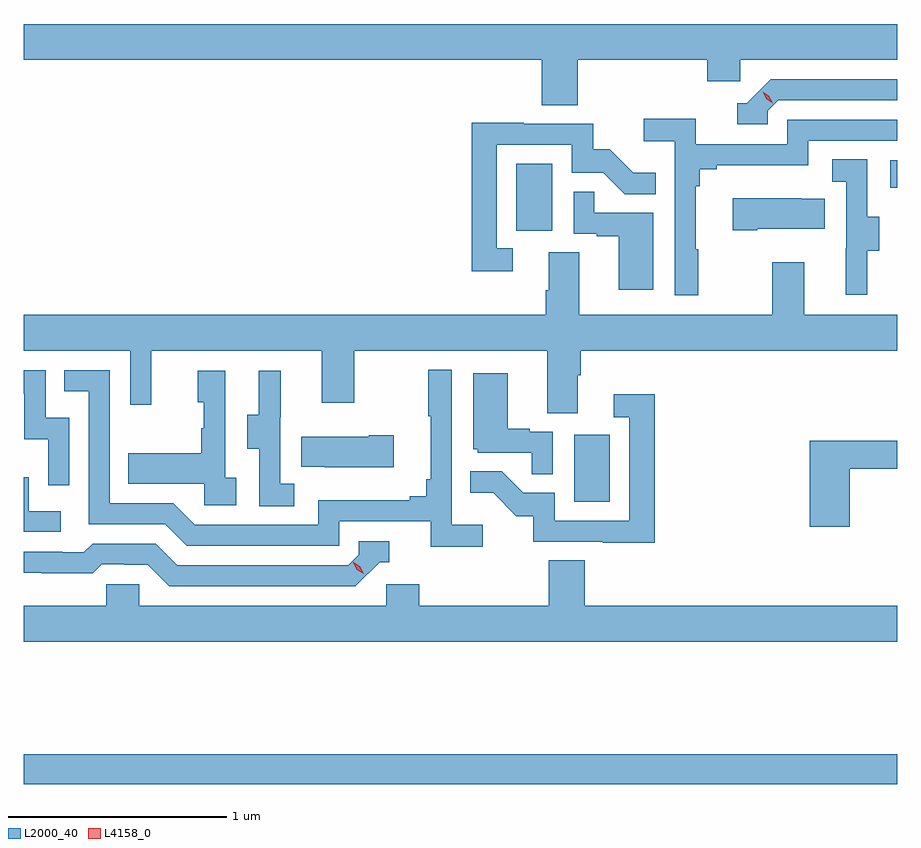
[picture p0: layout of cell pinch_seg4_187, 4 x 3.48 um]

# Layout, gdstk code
import gdstk
lib = gdstk.Library(unit=1e-6, precision=1e-09)
def R(c, l, rs):  # rectangles x0, y0, x1, y1
    for r in rs: c.add(gdstk.rectangle(r[:2], r[2:], *l))
def P(c, l, *ps):  # polygons
    for p in ps: c.add(gdstk.Polygon(p, *l))
L2000_40 = (2000, 40)
L4158_0 = (4158, 0)

pinch_seg4_187 = lib.new_cell('pinch_seg4_187')
R(pinch_seg4_187, L2000_40, [(973.586,812.152,977.586,812.288), (976.106,813.444,976.27,813.751), (975.842,814.686,976.006,814.993), (977.553,814.883,977.586,815.007)])
P(pinch_seg4_187, L2000_40, [(976.124,815.468),(976.715,815.468),(976.715,815.37),(976.866,815.37),(976.866,815.468),(977.586,815.468),(977.586,815.632),(973.586,815.632),(973.586,815.468),(975.959,815.468),(975.959,815.26),(976.124,815.26)],
  [(976.992,815.235),(977.04,815.283),(977.586,815.283),(977.586,815.379),(977.007,815.379),(976.896,815.268),(976.853,815.268),(976.853,815.172),(976.992,815.172)],
  [(976.675,814.601),(976.663,814.601),(976.663,814.889),(976.682,814.889),(976.682,814.966),(976.759,814.966),(976.759,814.985),(977.178,814.985),(977.178,815.097),(977.586,815.097),(977.586,815.193),(977.082,815.193),(977.082,815.082),(976.664,815.082),(976.664,815.198),(976.425,815.198),(976.425,815.096),(976.566,815.096),(976.566,814.389),(976.675,814.389)],
  [(975.826,814.605),(975.753,814.605),(975.753,815.079),(976.095,815.079),(976.095,814.95),(976.239,814.95),(976.337,814.852),(976.481,814.852),(976.481,814.951),(976.377,814.951),(976.27,815.058),(976.194,815.058),(976.194,815.175),(975.875,815.175),(975.875,815.18),(975.637,815.18),(975.637,814.5),(975.826,814.5)],
  [(977.449,814.594),(977.503,814.594),(977.503,814.749),(977.448,814.749),(977.448,815.012),(977.289,815.012),(977.289,814.909),(977.352,814.909),(977.352,814.605),(977.351,814.605),(977.351,814.392),(977.449,814.392)],
  [(976.468,814.767),(976.199,814.767),(976.199,814.865),(976.104,814.865),(976.104,814.671),(976.211,814.671),(976.211,814.659),(976.31,814.659),(976.31,814.416),(976.468,814.416)],
  [(976.945,814.694),(977.255,814.694),(977.255,814.831),(977.147,814.831),(977.147,814.834),(976.833,814.834),(976.833,814.687),(976.945,814.687)],
  [(976.123,814.024),(976.136,814.024),(976.136,814.136),(977.586,814.136),(977.586,814.3),(977.161,814.3),(977.161,814.54),(977.014,814.54),(977.014,814.3),(976.129,814.3),(976.129,814.586),(975.989,814.586),(975.989,814.412),(975.977,814.412),(975.977,814.3),(973.586,814.3),(973.586,814.136),(974.073,814.136),(974.073,813.888),(974.171,813.888),(974.171,814.136),(974.951,814.136),(974.951,813.897),(975.099,813.897),(975.099,814.136),(975.983,814.136),(975.983,813.85),(976.123,813.85)],
  [(975.688,813.34),(975.546,813.34),(975.546,814.048),(975.438,814.048),(975.438,813.835),(975.449,813.835),(975.449,813.547),(975.43,813.547),(975.43,813.47),(975.353,813.47),(975.353,813.451),(974.934,813.451),(974.934,813.339),(974.37,813.339),(974.271,813.438),(973.98,813.438),(973.98,814.047),(973.771,814.047),(973.771,813.951),(973.884,813.951),(973.884,813.342),(974.234,813.342),(974.333,813.243),(975.03,813.243),(975.03,813.354),(975.449,813.354),(975.449,813.238),(975.688,813.238)],
  [(973.794,813.828),(973.686,813.828),(973.686,814.047),(973.586,814.047),(973.586,813.939),(973.589,813.939),(973.589,813.731),(973.698,813.731),(973.698,813.519),(973.794,813.519)],
  [(974.56,813.554),(974.508,813.554),(974.508,814.045),(974.384,814.045),(974.384,813.9),(974.41,813.9),(974.41,813.782),(974.4,813.782),(974.4,813.667),(974.065,813.667),(974.065,813.527),(974.412,813.527),(974.412,813.429),(974.56,813.429)],
  [(974.824,813.527),(974.76,813.527),(974.76,813.831),(974.762,813.831),(974.762,814.045),(974.663,814.045),(974.663,813.843),(974.609,813.843),(974.609,813.688),(974.664,813.688),(974.664,813.424),(974.824,813.424)],
  [(976.008,813.765),(975.902,813.765),(975.902,813.778),(975.802,813.778),(975.802,814.033),(975.644,814.033),(975.644,813.684),(975.666,813.684),(975.666,813.669),(975.913,813.669),(975.913,813.571),(976.008,813.571)],
  [(976.475,813.937),(976.287,813.937),(976.287,813.831),(976.359,813.831),(976.359,813.357),(976.017,813.357),(976.017,813.486),(975.873,813.486),(975.775,813.584),(975.631,813.584),(975.631,813.485),(975.735,813.485),(975.842,813.378),(975.919,813.378),(975.919,813.261),(976.237,813.261),(976.237,813.256),(976.475,813.256)],
  [(975.28,813.75),(975.167,813.75),(975.167,813.742),(974.857,813.742),(974.857,813.605),(974.965,813.605),(974.965,813.602),(975.28,813.602)],
  [(977.369,813.595),(977.586,813.595),(977.586,813.724),(977.186,813.724),(977.186,813.33),(977.369,813.33)],
  [(973.756,813.402),(973.608,813.402),(973.608,813.556),(973.586,813.556),(973.586,813.306),(973.756,813.306)],
  [(975.216,813.168),(975.259,813.168),(975.259,813.264),(975.12,813.264),(975.12,813.201),(975.072,813.153),(974.289,813.153),(974.19,813.252),(973.901,813.252),(973.862,813.213),(973.763,813.213),(973.763,813.216),(973.586,813.216),(973.586,813.119),(973.668,813.119),(973.668,813.117),(973.901,813.117),(973.943,813.159),(974.046,813.159),(974.046,813.156),(974.153,813.156),(974.252,813.057),(975.105,813.057)],
  [(977.586,812.968),(976.154,812.968),(976.154,813.176),(975.989,813.176),(975.989,812.968),(975.398,812.968),(975.398,813.066),(975.246,813.066),(975.246,812.968),(974.115,812.968),(974.115,813.066),(973.965,813.066),(973.965,812.968),(973.586,812.968),(973.586,812.804),(977.586,812.804)])
P(pinch_seg4_187, L4158_0, [(975.142,813.114),(975.112,813.134),(975.096,813.167),(975.096,813.167),(975.097,813.167),(975.127,813.147),(975.142,813.114),(975.142,813.114)],
  [(977.016,815.269),(976.985,815.289),(976.969,815.321),(976.969,815.322),(976.969,815.322),(977,815.302),(977.016,815.269),(977.016,815.269)])

lib.write_gds('pinch_seg4_187.gds')
